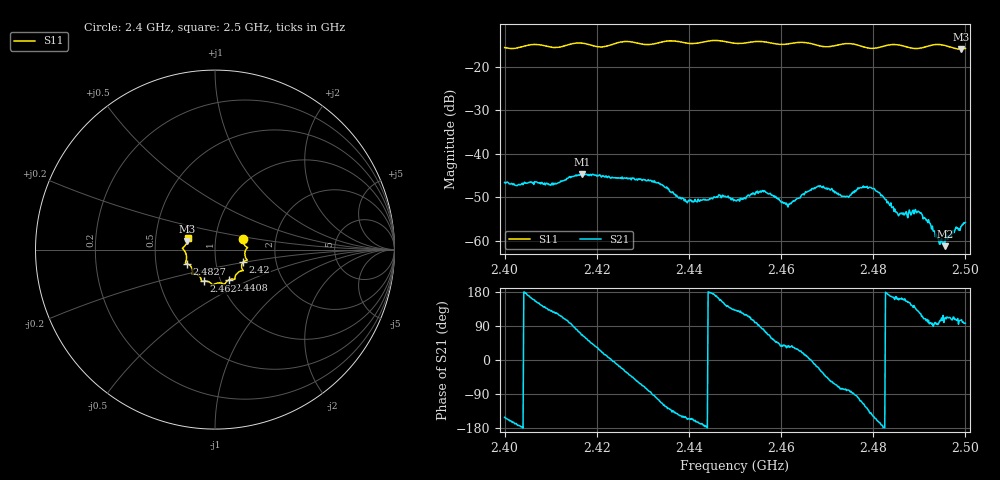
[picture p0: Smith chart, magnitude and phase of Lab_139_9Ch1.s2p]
# Hz S RI R 50
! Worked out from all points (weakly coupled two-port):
!   601 points, 2.4 GHz to 2.5 GHz, reference 50 ohm
!   highest |S21| = -44.62 dB at 2.4168 GHz (marker M1); lowest = -61.2 dB at 2.4955 GHz (marker M2)
!   lowest |S11| = -15.9 dB at 2.499 GHz (marker M3), VSWR 1.38, Z = 36.5 + j3.58 ohm
!   |S11| at or under -10 dB: start of sweep to end of sweep
!   S12 and S22 are empty: the file has one direction only
!   S11 on the Smith chart (normalised r, x): 2.4 GHz: 1.36, +0.17; 2.42 GHz: 1.36, -0.19; 2.4408 GHz: 1.10, -0.38; 2.462 GHz: 0.83, -0.30; 2.4827 GHz: 0.72, -0.12; 2.5 GHz: 0.73, +0.09
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2.4e9  0.1553 0.0616  -0.00411 -0.00226  0 0  0 0
2.410167e9  0.1685 -0.00785  -0.0029 0.0034  0 0  0 0
2.416667e9  0.1787 -0.0589  0.00232 0.00529  0 0  0 0
2.416833e9  0.1785 -0.0592  0.00232 0.0054  0 0  0 0
2.42e9  0.157 -0.0692  0.00463 0.00305  0 0  0 0
2.433333e9  0.1119 -0.1526  -0.00114 -0.00454  0 0  0 0
2.440833e9  0.0782 -0.1687  -0.0026 -0.00117  0 0  0 0
2.45e9  0.0272 -0.1853  -0.00195 0.00219  0 0  0 0
2.456e9  -0.014 -0.1951  0.000543 0.00375  0 0  0 0
2.462e9  -0.0621 -0.175  0.00222 0.00153  0 0  0 0
2.466667e9  -0.0764 -0.1682  0.00398 -0.000146  0 0  0 0
2.468667e9  -0.0841 -0.1517  0.00365 -0.00208  0 0  0 0
2.474167e9  -0.126 -0.1361  0.00053 -0.0032  0 0  0 0
2.479e9  -0.1285 -0.1034  -0.00275 -0.00299  0 0  0 0
2.482667e9  -0.1577 -0.0776  -0.00297 6.33e-05  0 0  0 0
2.483333e9  -0.1616 -0.0764  -0.00268 0.00035  0 0  0 0
2.4855e9  -0.1644 -0.0714  -0.00181 0.000709  0 0  0 0
2.490167e9  -0.1632 -0.0196  -0.00113 0.00176  0 0  0 0
2.494e9  -0.1811 0.00766  -6.38e-05 0.00107  0 0  0 0
2.4955e9  -0.1766 0.0127  -0.000284 0.000818  0 0  0 0
2.499e9  -0.1534 0.0478  -0.00038 0.00141  0 0  0 0
2.5e9  -0.1512 0.0626  -0.000204 0.00162  0 0  0 0
